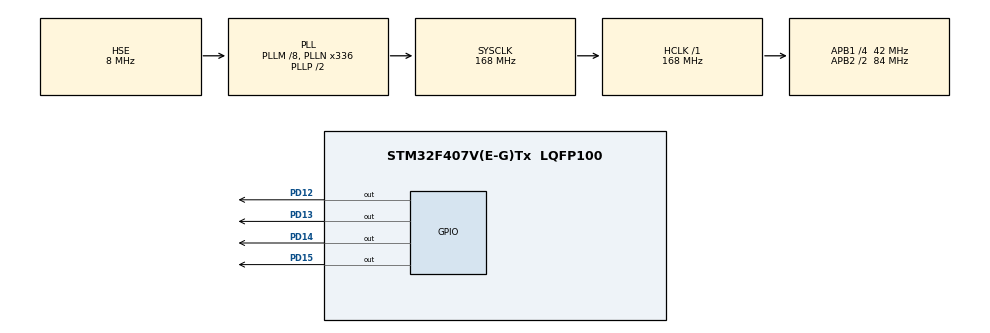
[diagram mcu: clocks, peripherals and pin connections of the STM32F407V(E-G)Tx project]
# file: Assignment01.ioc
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Mcu.Family=STM32F4
Mcu.Name=STM32F407V(E-G)Tx
Mcu.Package=LQFP100
NVIC.PriorityGroup=NVIC_PRIORITYGROUP_4
NVIC.TIM1_UP_TIM10_IRQn=true\:15\:0\:false\:false\:true\:false\:true\:true
NVIC.TimeBase=TIM1_UP_TIM10_IRQn
NVIC.TimeBaseIP=TIM1
PD12.Signal=GPIO_Output
PD13.Signal=GPIO_Output
PD14.Signal=GPIO_Output
PD15.Signal=GPIO_Output
ProjectManager.HeapSize=0x200
ProjectManager.StackSize=0x400
ProjectManager.TargetToolchain=STM32CubeIDE
RCC.48MHZClocksFreq_Value=48000000
RCC.AHBFreq_Value=168000000
RCC.APB1CLKDivider=RCC_HCLK_DIV4
RCC.APB1Freq_Value=42000000
RCC.APB1TimFreq_Value=84000000
RCC.APB2CLKDivider=RCC_HCLK_DIV2
RCC.APB2Freq_Value=84000000
RCC.APB2TimFreq_Value=168000000
RCC.CortexFreq_Value=168000000
RCC.HCLKFreq_Value=168000000
RCC.HSE_VALUE=8000000
RCC.HSI_VALUE=16000000
RCC.LSE_VALUE=32768
RCC.PLLM=8
RCC.PLLN=336
RCC.PLLQ=7
RCC.PLLSourceVirtual=RCC_PLLSOURCE_HSE
RCC.SYSCLKFreq_VALUE=168000000
RCC.SYSCLKSource=RCC_SYSCLKSOURCE_PLLCLK
RCC.VCOOutputFreq_Value=336000000
VP_SYS_VS_tim1.Mode=TIM1
board=STM32F407G-DISC1

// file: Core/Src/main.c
/* USER CODE BEGIN Header */
/**
  ******************************************************************************
  * @file           : main.c
  * @brief          : Main program body
  ******************************************************************************
  * @attention
  *
  * Copyright (c) 2024 STMicroelectronics.
  * All rights reserved.
  *
  * This software is licensed under terms that can be found in the LICENSE file
  * in the root directory of this software component.
  * If no LICENSE file comes with this software, it is provided AS-IS.
  *
  ******************************************************************************
  */
/* USER CODE END Header */
#include "main.h"

/* USER CODE BEGIN Includes */
#include "FreeRTOS.h"
#include "FreeRTOSConfig.h"
#include "task.h"
/* USER CODE END Includes */

void SystemClock_Config(void);
static void MX_GPIO_Init(void);

/* USER CODE BEGIN 0 */
void vAperiodicTask1(void *pvParam)
{
	while(1)
	{
		HAL_GPIO_TogglePin(GPIOD,GPIO_PIN_12);
		vTaskDelay(1000 / portTICK_RATE_MS);
	}
	vTaskDelete(NULL);
}

void vAperiodicTask2(void *pvParam)
{
	while(1)
	{
		HAL_GPIO_TogglePin(GPIOD,GPIO_PIN_13);
		vTaskDelay(2000 / portTICK_RATE_MS);
	}
	vTaskDelete(NULL);
}

void vPeriodicTask1(void *pvParam)
{
	portTickType wakeupTime = xTaskGetTickCount();
	while(1)
	{
		HAL_GPIO_TogglePin(GPIOD,GPIO_PIN_14);
		vTaskDelayUntil(&wakeupTime,3000 / portTICK_RATE_MS);
	}
	vTaskDelete(NULL);
}

void vPeriodicTask2(void *pvParam)
{
	portTickType wakeupTime = xTaskGetTickCount();
	while(1)
	{
		HAL_GPIO_TogglePin(GPIOD,GPIO_PIN_15);
		vTaskDelayUntil(&wakeupTime,4000 / portTICK_RATE_MS);
	}
	vTaskDelete(NULL);
}

/* USER CODE END 0 */

int main(void)
{

  /* USER CODE BEGIN 1 */
	BaseType_t ret;
  /* USER CODE END 1 */

  /* MCU Configuration--------------------------------------------------------*/

  /* Reset of all peripherals, Initializes the Flash interface and the Systick. */
  HAL_Init();

  /* Configure the system clock */
  SystemClock_Config();

  /* Initialize all configured peripherals */
  MX_GPIO_Init();
  /* USER CODE BEGIN 2 */
ret = xTaskCreate(vPeriodicTask1,"Periodic1",configMINIMAL_STACK_SIZE,NULL,1,NULL);
if(ret != pdTRUE)
	Error_Handler();

ret = xTaskCreate(vPeriodicTask2,"Periodic2",configMINIMAL_STACK_SIZE,NULL,2,NULL);
if(ret != pdTRUE)
	Error_Handler();

ret = xTaskCreate(vAperiodicTask1,"Aperiodic1",configMINIMAL_STACK_SIZE,NULL,3,NULL);
if(ret != pdTRUE)
	Error_Handler();

ret = xTaskCreate(vAperiodicTask2,"Aperiodic2",configMINIMAL_STACK_SIZE,NULL,4,NULL);
if(ret != pdTRUE)
	Error_Handler();
vTaskStartScheduler();
  /* USER CODE END 2 */

  /* Infinite loop */
  while (1)
  {

  }
}

void SystemClock_Config(void)
{
  RCC_OscInitTypeDef RCC_OscInitStruct = {0};
  RCC_ClkInitTypeDef RCC_ClkInitStruct = {0};

  /** Configure the main internal regulator output voltage
  */
  __HAL_RCC_PWR_CLK_ENABLE();
  __HAL_PWR_VOLTAGESCALING_CONFIG(PWR_REGULATOR_VOLTAGE_SCALE1);

  /** Initializes the RCC Oscillators according to the specified parameters
  * in the RCC_OscInitTypeDef structure.
  */
  RCC_OscInitStruct.OscillatorType = RCC_OSCILLATORTYPE_HSE;
  RCC_OscInitStruct.HSEState = RCC_HSE_OFF;
  RCC_OscInitStruct.PLL.PLLState = RCC_PLL_ON;
  RCC_OscInitStruct.PLL.PLLSource = RCC_PLLSOURCE_HSE;
  RCC_OscInitStruct.PLL.PLLM = 8;
  RCC_OscInitStruct.PLL.PLLN = 336;
  RCC_OscInitStruct.PLL.PLLP = RCC_PLLP_DIV2;
  RCC_OscInitStruct.PLL.PLLQ = 7;
  if (HAL_RCC_OscConfig(&RCC_OscInitStruct) != HAL_OK)
  {
    Error_Handler();
  }

  /** Initializes the CPU, AHB and APB buses clocks
  */
  RCC_ClkInitStruct.ClockType = RCC_CLOCKTYPE_HCLK|RCC_CLOCKTYPE_SYSCLK
                              |RCC_CLOCKTYPE_PCLK1|RCC_CLOCKTYPE_PCLK2;
  RCC_ClkInitStruct.SYSCLKSource = RCC_SYSCLKSOURCE_PLLCLK;
  RCC_ClkInitStruct.AHBCLKDivider = RCC_SYSCLK_DIV1;
  RCC_ClkInitStruct.APB1CLKDivider = RCC_HCLK_DIV4;
  RCC_ClkInitStruct.APB2CLKDivider = RCC_HCLK_DIV2;

  if (HAL_RCC_ClockConfig(&RCC_ClkInitStruct, FLASH_LATENCY_5) != HAL_OK)
  {
    Error_Handler();
  }
}

static void MX_GPIO_Init(void)
{
  GPIO_InitTypeDef GPIO_InitStruct = {0};

  /* GPIO Ports Clock Enable */
  __HAL_RCC_GPIOD_CLK_ENABLE();

  /*Configure GPIO pin Output Level */
  HAL_GPIO_WritePin(GPIOD, GPIO_PIN_12|GPIO_PIN_13|GPIO_PIN_14|GPIO_PIN_15, GPIO_PIN_RESET);

  /*Configure GPIO pins : PD12 PD13 PD14 PD15 */
  GPIO_InitStruct.Pin = GPIO_PIN_12|GPIO_PIN_13|GPIO_PIN_14|GPIO_PIN_15;
  GPIO_InitStruct.Mode = GPIO_MODE_OUTPUT_PP;
  GPIO_InitStruct.Pull = GPIO_NOPULL;
  GPIO_InitStruct.Speed = GPIO_SPEED_FREQ_LOW;
  HAL_GPIO_Init(GPIOD, &GPIO_InitStruct);

}

void HAL_TIM_PeriodElapsedCallback(TIM_HandleTypeDef *htim)
{
  if (htim->Instance == TIM1) {
    HAL_IncTick();
  }
}

void Error_Handler(void)
{
  __disable_irq();
  while (1)
  {
  }
}
